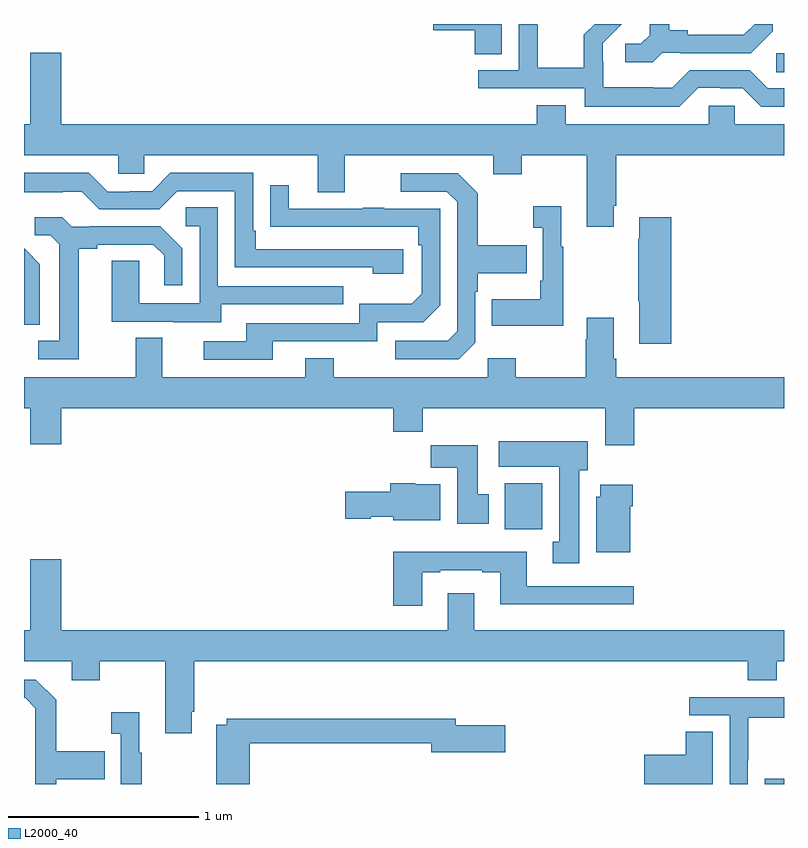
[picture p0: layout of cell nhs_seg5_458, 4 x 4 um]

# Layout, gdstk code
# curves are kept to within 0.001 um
import gdstk
lib = gdstk.Library(unit=1e-6, precision=1e-09)
def R(c, l, rs):  # rectangles x0, y0, x1, y1
    for r in rs: c.add(gdstk.rectangle(r[:2], r[2:], *l))
def P(c, l, *ps):  # polygons
    for p in ps: c.add(gdstk.Polygon(p, *l))
L2000_40 = (2000, 40)

nhs_seg5_458 = lib.new_cell('nhs_seg5_458')
R(nhs_seg5_458, L2000_40, [(144.899,838.799,145,838.827), (143.531,840.14,143.728,840.382), (144.96,842.545,145,842.646)])
P(nhs_seg5_458, L2000_40, [(144.36,842.649),(144.454,842.649),(144.454,842.646),(144.826,842.646),(144.942,842.762),(144.942,842.799),(144.845,842.799),(144.788,842.742),(144.493,842.742),(144.493,842.765),(144.397,842.765),(144.397,842.799),(144.293,842.799),(144.293,842.741),(144.246,842.694),(144.165,842.694),(144.165,842.597),(144.308,842.597)],
  [(143.515,842.799),(143.154,842.799),(143.154,842.765),(143.372,842.765),(143.372,842.641),(143.515,842.641)],
  [(144.549,842.463),(144.665,842.463),(144.665,842.46),(144.783,842.46),(144.879,842.364),(145,842.364),(145,842.46),(144.915,842.46),(144.819,842.556),(144.504,842.556),(144.411,842.463),(144.311,842.463),(144.311,842.467),(144.048,842.467),(144.048,842.601),(144.046,842.601),(144.046,842.698),(144.12,842.772),(144.119,842.773),(144.145,842.799),(144.003,842.799),(143.947,842.743),(143.947,842.569),(143.703,842.569),(143.703,842.792),(143.7,842.792),(143.7,842.799),(143.604,842.799),(143.604,842.556),(143.391,842.556),(143.391,842.46),(143.952,842.46),(143.952,842.363),(144.449,842.363)],
  [(144.103,841.843),(144.116,841.843),(144.116,842.108),(145,842.108),(145,842.272),(144.741,842.272),(144.741,842.37),(144.603,842.37),(144.603,842.272),(143.851,842.272),(143.851,842.371),(143.699,842.371),(143.699,842.272),(141.196,842.272),(141.196,842.647),(141.032,842.647),(141.032,842.272),(141,842.272),(141,842.108),(141.495,842.108),(141.495,842.01),(141.633,842.01),(141.633,842.108),(142.547,842.108),(142.547,841.914),(142.687,841.914),(142.687,842.108),(143.471,842.108),(143.471,842.009),(143.619,842.009),(143.619,842.108),(143.963,842.108),(143.963,841.731),(144.103,841.731)],
  [(142.996,841.614),(142.219,841.614),(142.219,841.711),(142.206,841.711),(142.206,842.016),(141.771,842.016),(141.675,841.92),(141.557,841.92),(141.557,841.917),(141.441,841.917),(141.341,842.017),(141,842.017),(141,841.913),(141.203,841.913),(141.203,841.917),(141.303,841.917),(141.396,841.824),(141.711,841.824),(141.807,841.92),(142.11,841.92),(142.11,841.518),(142.835,841.518),(142.835,841.484),(142.996,841.484)],
  [(143.376,841.122),(143.376,841.391),(143.389,841.391),(143.389,841.487),(143.645,841.487),(143.645,841.635),(143.389,841.635),(143.389,841.907),(143.283,842.013),(142.983,842.013),(142.983,841.917),(143.226,841.917),(143.28,841.863),(143.28,841.182),(143.229,841.131),(142.953,841.131),(142.953,841.035),(143.289,841.035)],
  [(142.309,841.128),(142.86,841.128),(142.86,841.23),(143.1,841.23),(143.19,841.32),(143.19,841.827),(142.895,841.827),(142.895,841.832),(142.783,841.832),(142.783,841.827),(142.393,841.827),(142.393,841.951),(142.297,841.951),(142.297,841.732),(143.074,841.731),(143.074,841.634),(143.094,841.634),(143.094,841.38),(143.041,841.327),(142.764,841.327),(142.764,841.224),(142.169,841.224),(142.169,841.128),(141.945,841.128),(141.945,841.032),(142.309,841.032)],
  [(143.839,841.627),(143.827,841.627),(143.827,841.84),(143.679,841.84),(143.679,841.727),(143.73,841.727),(143.73,841.447),(143.718,841.447),(143.718,841.351),(143.461,841.351),(143.461,841.211),(143.839,841.211)],
  [(142.039,841.323),(142.679,841.323),(142.679,841.419),(142.02,841.419),(142.02,841.835),(141.852,841.835),(141.852,841.734),(141.924,841.734),(141.924,841.329),(141.606,841.329),(141.606,841.553),(141.461,841.553),(141.461,841.233),(141.785,841.233),(141.785,841.229),(142.039,841.229)],
  [(141.289,841.616),(141.385,841.616),(141.385,841.638),(141.68,841.638),(141.737,841.581),(141.737,841.425),(141.834,841.425),(141.834,841.618),(141.718,841.734),(141.346,841.734),(141.346,841.731),(141.252,841.731),(141.2,841.783),(141.057,841.783),(141.057,841.686),(141.138,841.686),(141.185,841.639),(141.185,841.131),(141.075,841.131),(141.075,841.035),(141.289,841.035)],
  [(144.407,841.783),(144.239,841.783),(144.239,841.67),(144.232,841.67),(144.232,841.339),(144.239,841.339),(144.239,841.116),(144.407,841.116)],
  [(141.084,841.534),(141.011,841.607),(141.012,841.608),(141,841.62),(141,841.216),(141.084,841.216)],
  [(144.212,840.776),(145,840.776),(145,840.94),(144.116,840.94),(144.116,841.036),(144.103,841.036),(144.103,841.252),(143.963,841.252),(143.963,841.139),(143.956,841.139),(143.956,840.94),(143.589,840.94),(143.589,841.039),(143.442,841.039),(143.442,840.94),(142.629,840.94),(142.629,841.039),(142.481,841.039),(142.481,840.94),(141.727,840.94),(141.727,841.148),(141.587,841.148),(141.587,840.94),(141,840.94),(141,840.776),(141.032,840.776),(141.032,840.588),(141.196,840.588),(141.196,840.776),(142.943,840.776),(142.943,840.652),(143.099,840.652),(143.099,840.776),(144.059,840.776),(144.059,840.582),(144.212,840.582)],
  [(143.923,840.45),(143.968,840.45),(143.968,840.604),(143.499,840.604),(143.499,840.47),(143.816,840.47),(143.816,840.074),(143.783,840.074),(143.783,839.961),(143.923,839.961)],
  [(143.446,840.324),(143.389,840.324),(143.389,840.583),(143.14,840.583),(143.14,840.464),(143.279,840.464),(143.279,840.168),(143.446,840.168)],
  [(143.191,840.376),(143.058,840.376),(143.058,840.382),(142.928,840.382),(142.928,840.336),(142.692,840.336),(142.692,840.194),(142.824,840.194),(142.824,840.206),(142.944,840.206),(142.944,840.188),(143.191,840.188)],
  [(144.19,840.26),(144.203,840.26),(144.203,840.373),(144.032,840.373),(144.032,840.312),(144.011,840.312),(144.011,840.02),(144.19,840.02)],
  [(143.095,839.913),(143.191,839.913),(143.191,839.925),(143.411,839.925),(143.411,839.913),(143.507,839.913),(143.507,839.744),(144.208,839.744),(144.208,839.841),(143.647,839.841),(143.647,840.022),(142.943,840.022),(142.943,839.736),(143.095,839.736)],
  [(141.883,839.179),(141.896,839.179),(141.896,839.444),(144.809,839.444),(144.809,839.345),(144.961,839.345),(144.961,839.444),(145,839.444),(145,839.608),(143.371,839.608),(143.371,839.803),(143.231,839.803),(143.231,839.608),(141.196,839.608),(141.196,839.983),(141.032,839.983),(141.032,839.608),(141,839.608),(141,839.444),(141.251,839.444),(141.251,839.345),(141.399,839.345),(141.399,839.444),(141.743,839.444),(141.743,839.067),(141.883,839.067)],
  [(141.169,838.823),(141.425,838.823),(141.425,838.971),(141.169,838.971),(141.169,839.243),(141.063,839.349),(141,839.349),(141,839.253),(141.006,839.253),(141.06,839.199),(141.06,838.799),(141.169,838.799)],
  [(144.81,838.924),(144.813,838.924),(144.813,839.148),(145,839.148),(145,839.256),(144.501,839.256),(144.501,839.16),(144.714,839.16),(144.714,838.799),(144.81,838.799)],
  [(141.619,838.963),(141.607,838.963),(141.607,839.176),(141.459,839.176),(141.459,839.063),(141.51,839.063),(141.51,838.799),(141.619,838.799)],
  [(142.187,839.014),(143.144,839.014),(143.144,838.967),(143.533,838.967),(143.533,839.109),(143.272,839.109),(143.272,839.143),(142.068,839.143),(142.068,839.11),(142.012,839.11),(142.012,838.799),(142.187,838.799)],
  [(144.625,839.075),(144.482,839.075),(144.482,838.952),(144.264,838.952),(144.264,838.799),(144.625,838.799)])

lib.write_gds('nhs_seg5_458.gds')
